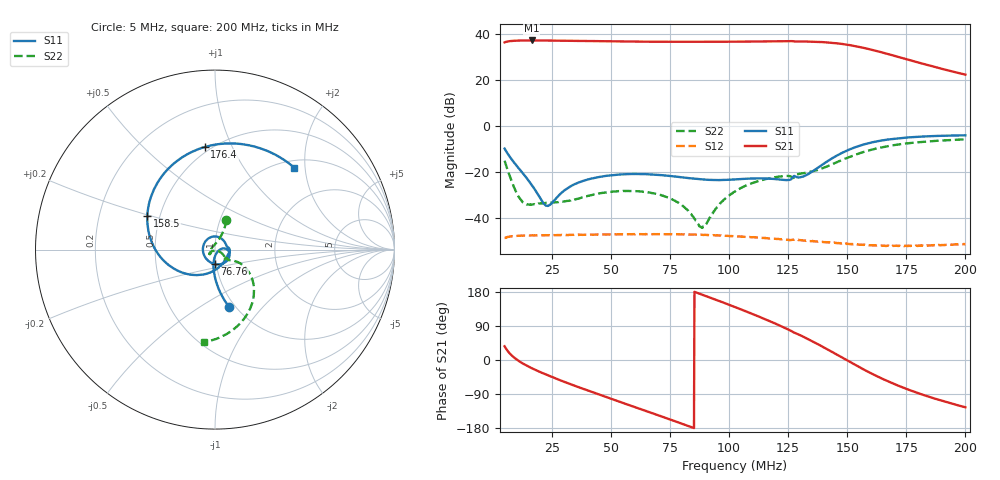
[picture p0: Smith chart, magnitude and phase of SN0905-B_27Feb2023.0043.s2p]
# Hz S DB R 50
! CMT, M5045, 22160017, 22.4.3/2
! Date: 2/27/2023 00:43:28
! Data: Format (Calibration Info)
! Freq	S11:dB/Ang(F2)	S21:dB/Ang(F2)	S12:dB/Ang(F2)	S22:dB/Ang(F2)
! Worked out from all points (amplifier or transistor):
!   1001 points, 5 MHz to 200 MHz, reference 50 ohm
!   highest |S21| = 37.4 dB at 16.5 MHz (marker M1)
!   |S21| within 3 dB of that: start of sweep to 155.9 MHz
!   unconditionally stable (mu >= 1): start of sweep to end of sweep
!   at 37.37 MHz: K = 1.75, MAG = 37.1 dB, |S12| = -47.2 dB
!   at 102.5 MHz: K = 1.92, MAG = 36.9 dB, |S12| = -47.9 dB
!   at 200 MHz: K = 6.42, MAG = 25.9 dB, |S12| = -51.4 dB
!   S11 on the Smith chart (normalised r, x): 5 MHz: 0.94, -0.67; 76.76 MHz: 0.99, -0.16; 158.5 MHz: 0.43, +0.19; 176.4 MHz: 0.46, +0.79; 200 MHz: 1.15, +1.76
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5000000  -9.73 -76.3  36.51 36.2  -48.66 39.0  -14.99 69.0
9290000  -16.16 -90.0  37.24 5.2  -47.79 8.0  -27.33 75.6
1.6505e7  -25.57 -95.0  37.36 -21.7  -47.55 -18.7  -34.12 147.4
2.6645e7  -31.52 -0.7  37.28 -48.9  -47.43 -45.0  -33.05 -170.2
3.7565e7  -24.02 3.3  37.11 -74.6  -47.18 -69.9  -31.17 -142.9
5.297e7  -21.05 -24.1  36.92 -108.8  -47.04 -101.0  -28.26 -139.1
7.013e7  -21.18 -68.3  36.80 -146.1  -47.03 -134.7  -29.68 -148.1
7.676e7  -21.85 -90.3  36.78 -160.8  -47.03 -148.1  -32.25 -150.4
8.9825e7  -23.24 -146.6  36.79 169.6  -47.27 -174.8  -43.30 -64.4
1.025e8  -23.15 147.7  36.83 139.7  -47.89 158.0  -28.37 -26.8
1.1225e8  -22.69 98.0  36.90 115.5  -48.50 135.6  -23.91 -35.5
1.20635e8  -23.12 50.3  36.98 93.1  -49.03 114.5  -21.99 -42.3
1.2629e8  -23.03 12.7  37.07 76.6  -49.50 100.3  -21.97 -45.8
1.35065e8  -19.83 -78.4  36.83 50.0  -50.07 70.4  -19.68 -34.9
1.40915e8  -15.72 -120.5  36.55 30.5  -50.44 49.5  -17.72 -29.8
1.46375e8  -12.35 -151.5  36.03 11.4  -50.87 27.6  -15.30 -28.9
1.5164e8  -9.82 -177.1  35.22 -7.0  -51.41 7.1  -13.07 -33.1
1.58465e8  -7.52 153.7  33.77 -30.0  -51.69 -18.5  -10.71 -42.4
1.6763e8  -5.72 121.0  31.33 -57.3  -52.13 -48.8  -8.58 -57.1
1.76405e8  -4.81 95.7  28.80 -79.4  -52.07 -72.1  -7.33 -70.1
1.8674e8  -4.27 71.3  25.89 -101.3  -51.71 -93.5  -6.41 -83.2
2e8  -3.95 45.8  22.48 -124.8  -51.39 -114.6  -5.69 -96.9
